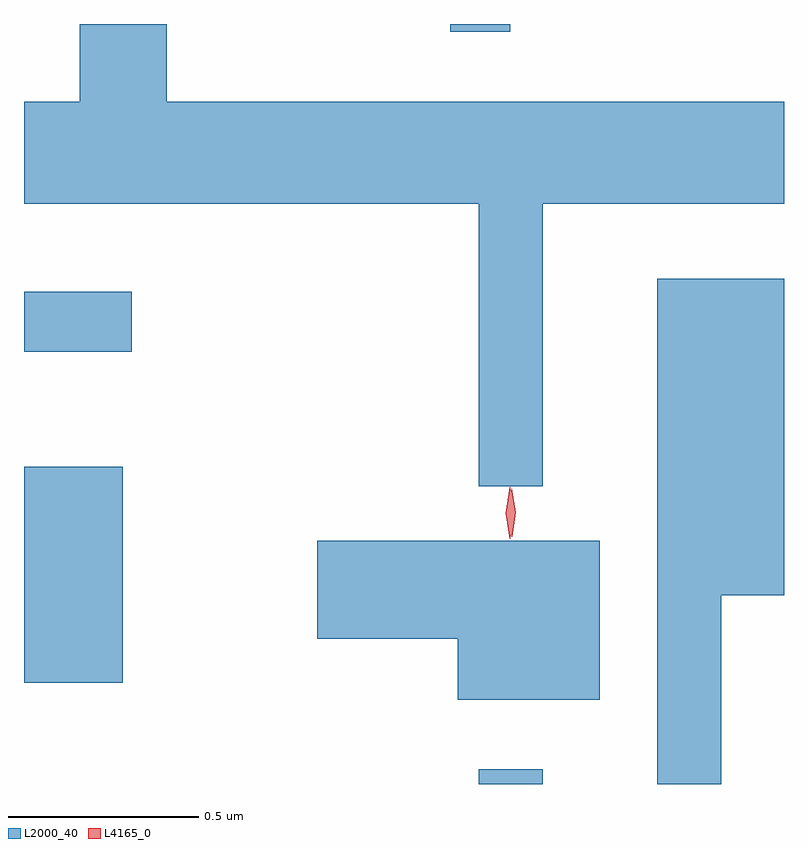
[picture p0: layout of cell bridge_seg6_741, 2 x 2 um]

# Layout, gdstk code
import gdstk
lib = gdstk.Library(unit=1e-6, precision=1e-09)
def R(c, l, rs):  # rectangles x0, y0, x1, y1
    for r in rs: c.add(gdstk.rectangle(r[:2], r[2:], *l))
def P(c, l, *ps):  # polygons
    for p in ps: c.add(gdstk.Polygon(p, *l))
L2000_40 = (2000, 40)
L4165_0 = (4165, 0)

bridge_seg6_741 = lib.new_cell('bridge_seg6_741')
R(bridge_seg6_741, L2000_40, [(213.871,1535.189,214.039,1535.228), (212.674,1535.456,212.934,1536.024), (212.674,1536.326,212.958,1536.484), (213.796,1537.168,213.954,1537.189)])
P(bridge_seg6_741, L2000_40, [(214.039,1536.716),(214.674,1536.716),(214.674,1536.984),(213.049,1536.984),(213.049,1537.189),(212.821,1537.189),(212.821,1536.984),(212.674,1536.984),(212.674,1536.716),(213.871,1536.716),(213.871,1535.973),(214.039,1535.973)],
  [(214.509,1535.686),(214.674,1535.686),(214.674,1536.519),(214.341,1536.519),(214.341,1535.189),(214.509,1535.189)],
  [(214.189,1535.829),(213.446,1535.829),(213.446,1535.571),(213.816,1535.571),(213.816,1535.411),(214.189,1535.411)])
P(bridge_seg6_741, L4165_0, [(213.958,1535.84),(213.958,1535.84),(213.948,1535.904),(213.957,1535.966),(213.958,1535.967),(213.958,1535.966),(213.968,1535.904),(213.959,1535.84)],
  [(213.952,1535.834),(213.952,1535.834),(213.942,1535.902),(213.952,1535.97),(213.952,1535.97),(213.953,1535.97),(213.962,1535.902),(213.953,1535.834)])

lib.write_gds('bridge_seg6_741.gds')
